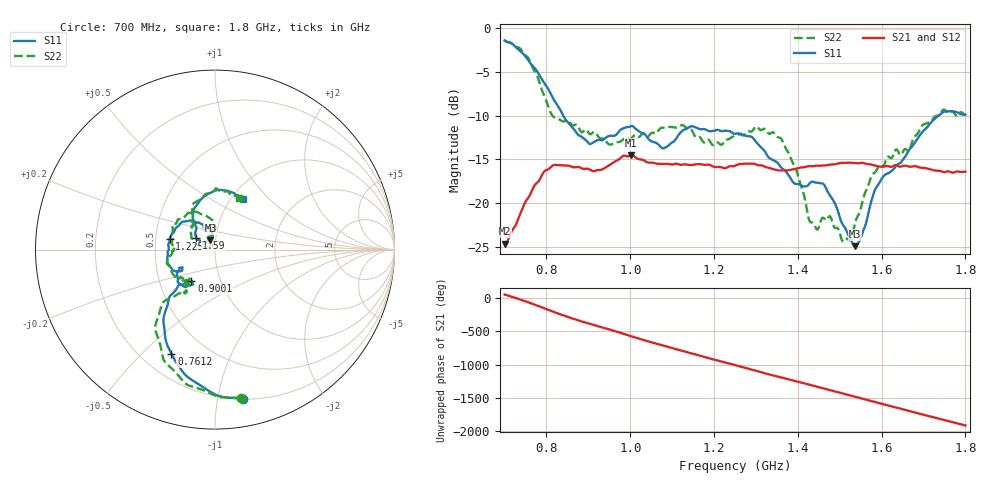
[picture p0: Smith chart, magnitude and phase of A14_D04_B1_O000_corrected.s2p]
! Created with skrf 1.9.0 (http://scikit-rf.org).
# Hz S RI R 50.0
!freq ReS11 ImS11 ReS21 ImS21 ReS12 ImS12 ReS22 ImS22
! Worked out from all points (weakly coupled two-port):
!   1601 points, 700 MHz to 1.8 GHz, reference 50 ohm
!   highest |S21| = -14.55 dB at 1.002 GHz (marker M1); lowest = -24.6 dB at 700.7 MHz (marker M2)
!   lowest |S11| = -24.9 dB at 1.536 GHz (marker M3), VSWR 1.12, Z = 47.3 + j4.84 ohm
!   |S11| at or under -10 dB: 839.8 MHz to 1.736 GHz (896.4 MHz wide, 69.6 % of centre)
!   |S22| runs from -24.3 to -1.5 dB; largest |S21 - S12| = 0.0034
!   S11 on the Smith chart (normalised r, x): 700 MHz: 0.20, -1.19; 761.2 MHz: 0.32, -0.62; 900.1 MHz: 0.72, -0.27; 1.225 GHz: 0.59, +0.07; 1.59 GHz: 0.80, +0.11; 1.8 GHz: 1.13, +0.71
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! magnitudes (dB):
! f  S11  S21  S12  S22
! 700 MHz  -1.4  -24.6  -24.4  -1.5
! 700.7 MHz  -1.5  -24.6  -24.3  -1.5
! 761.2 MHz  -4.0  -19.0  -18.9  -3.9
! 814.1 MHz  -7.9  -15.7  -15.8  -10.0
! 883.6 MHz  -12.4  -16.0  -15.9  -11.9
! 900.1 MHz  -13.1  -16.1  -16.1  -11.9
! 1.002 GHz  -11.2  -14.5  -14.7  -12.6
! 1.067 GHz  -13.3  -15.5  -15.4  -11.7
! 1.145 GHz  -11.2  -15.6  -15.6  -11.5
! 1.225 GHz  -11.7  -16.0  -16.0  -13.0
! 1.25 GHz  -12.1  -15.7  -15.6  -12.3
! 1.302 GHz  -13.1  -15.6  -15.5  -11.2
! 1.359 GHz  -15.9  -16.3  -16.2  -12.6
! 1.396 GHz  -17.8  -16.0  -16.0  -16.2
! 1.434 GHz  -17.5  -15.8  -15.7  -22.2
! 1.476 GHz  -19.1  -15.6  -15.6  -21.5
! 1.509 GHz  -22.5  -15.4  -15.4  -24.3
! 1.536 GHz  -24.9  -15.4  -15.4  -22.4
! 1.59 GHz  -18.0  -15.8  -15.8  -16.1
! 1.617 GHz  -16.5  -15.8  -15.7  -14.7
! 1.742 GHz  -9.8  -16.3  -16.3  -9.6
! 1.8 GHz  -9.9  -16.4  -16.4  -10.0
